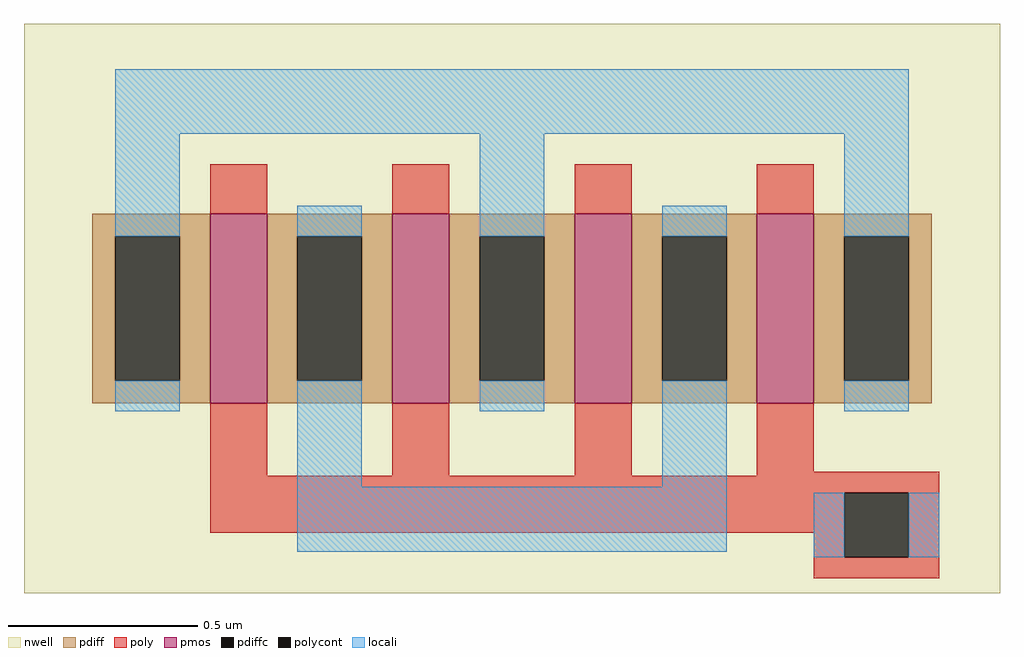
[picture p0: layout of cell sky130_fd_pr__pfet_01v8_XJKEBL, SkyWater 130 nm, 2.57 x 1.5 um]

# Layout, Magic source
magic
tech sky130A
magscale 1 2
<< nwell >>
rect -257 -150 257 150
<< pmos >>
rect -159 -50 -129 50
rect -63 -50 -33 50
rect 33 -50 63 50
rect 129 -50 159 50
<< pdiff >>
rect -221 38 -159 50
rect -221 -38 -209 38
rect -175 -38 -159 38
rect -221 -50 -159 -38
rect -129 38 -63 50
rect -129 -38 -113 38
rect -79 -38 -63 38
rect -129 -50 -63 -38
rect -33 38 33 50
rect -33 -38 -17 38
rect 17 -38 33 38
rect -33 -50 33 -38
rect 63 38 129 50
rect 63 -38 79 38
rect 113 -38 129 38
rect 63 -50 129 -38
rect 159 38 221 50
rect 159 -38 175 38
rect 209 -38 221 38
rect 159 -50 221 -38
<< pdiffc >>
rect -209 -38 -175 38
rect -113 -38 -79 38
rect -17 -38 17 38
rect 79 -38 113 38
rect 175 -38 209 38
<< poly >>
rect -159 50 -129 76
rect -63 50 -33 76
rect 33 50 63 76
rect 129 50 159 76
rect -159 -88 -129 -50
rect -63 -88 -33 -50
rect 33 -88 63 -50
rect 129 -86 159 -50
rect 129 -88 225 -86
rect -159 -97 225 -88
rect -159 -118 175 -97
rect 159 -131 175 -118
rect 209 -131 225 -97
rect 159 -142 225 -131
<< polycont >>
rect 175 -131 209 -97
<< locali >>
rect -209 92 209 126
rect -209 38 -175 92
rect -209 -54 -175 -38
rect -113 38 -79 54
rect -113 -94 -79 -38
rect -17 38 17 92
rect -17 -54 17 -38
rect 79 38 113 54
rect 79 -94 113 -38
rect 175 38 209 92
rect 175 -54 209 -38
rect -113 -128 113 -94
rect 159 -131 175 -97
rect 209 -131 225 -97
<< properties >>
string gencell sky130_fd_pr__pfet_01v8
string library sky130
string parameters w 0.5 l 0.15 m 1 nf 4 diffcov 100 polycov 100 guard 0 glc 1 grc 1 gtc 1 gbc 1 tbcov 100 rlcov 100 topc 1 botc 1 poverlap 0 doverlap 1 lmin 0.15 wmin 0.42 compatible {sky130_fd_pr__pfet_01v8  sky130_fd_pr__pfet_01v8_lvt sky130_fd_pr__pfet_01v8_hvt  sky130_fd_pr__pfet_g5v0d10v5} full_metal 1 viasrc 100 viadrn 100 viagate 100 viagb 0 viagr 0 viagl 0 viagt 0
<< end >>
